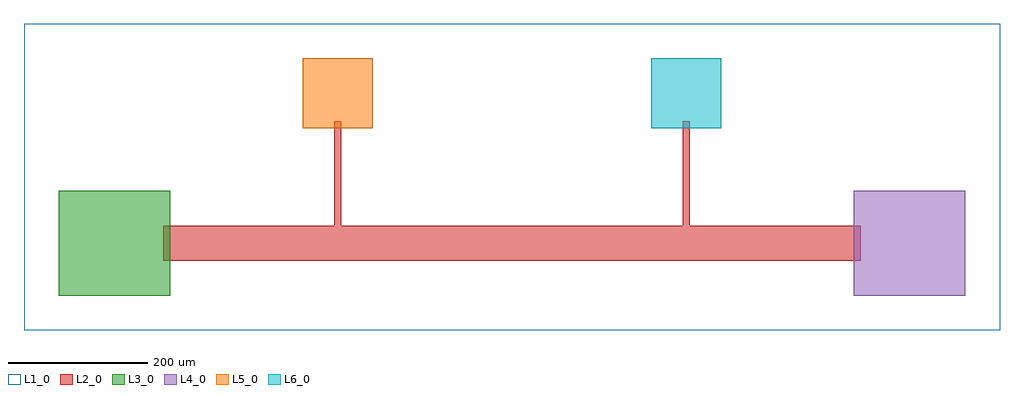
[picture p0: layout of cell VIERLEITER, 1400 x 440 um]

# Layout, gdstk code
import gdstk
lib = gdstk.Library(unit=1e-6, precision=1e-09)
def R(c, l, rs):  # rectangles x0, y0, x1, y1
    for r in rs: c.add(gdstk.rectangle(r[:2], r[2:], *l))
L1_0 = (1, 0)
L2_0 = (2, 0)
L3_0 = (3, 0)
L4_0 = (4, 0)
L5_0 = (5, 0)
L6_0 = (6, 0)

vierleiter = lib.new_cell('VIERLEITER')
R(vierleiter, L1_0, [(-200,-100,1200,340)])
R(vierleiter, L2_0, [(0,0,1000,50), (245,50,255,200), (745,50,755,200)])
R(vierleiter, L3_0, [(-150,-50,10,100)])
R(vierleiter, L4_0, [(990,-50,1150,100)])
R(vierleiter, L5_0, [(200,190,300,290)])
R(vierleiter, L6_0, [(700,190,800,290)])

lib.write_gds('VIERLEITER.gds')
